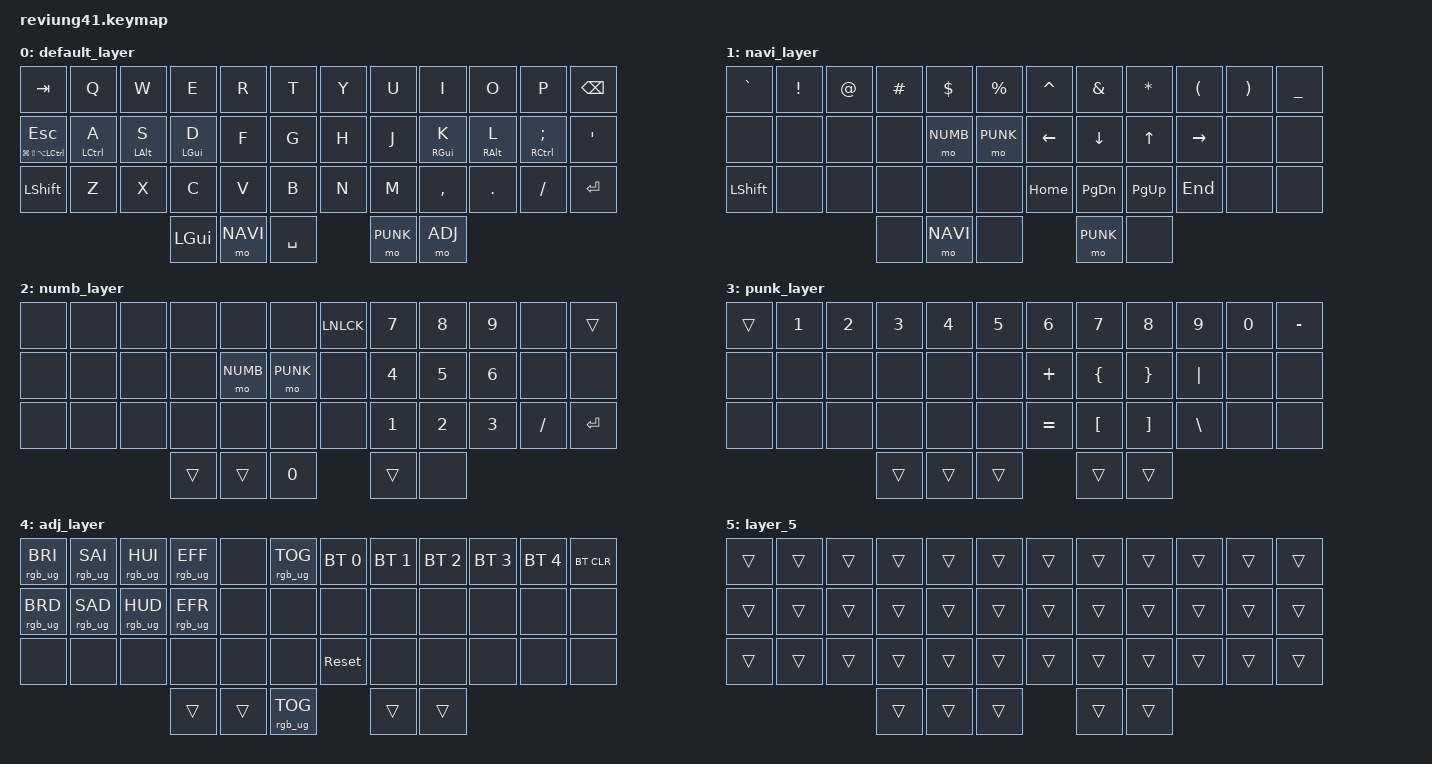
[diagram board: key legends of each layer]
/*
 * Copyright (c) 2020 The ZMK Contributors
 *
 * SPDX-License-Identifier: MIT
 */

#include <behaviors.dtsi>
#include <dt-bindings/zmk/bt.h>
#include <dt-bindings/zmk/keys.h>
#include <dt-bindings/zmk/rgb.h>

#define DEFAULT 0
#define NAVI    1
#define NUMB    2
#define PUNK    3
#define ADJ     4

&mt { tapping-term-ms = <1500>; };

/ {
    behaviors {
        hrml: hrml {
            compatible = "zmk,behavior-hold-tap";
            label = "HRML";
            bindings = <&kp>, <&kp>;

            #binding-cells = <2>;
            tapping-term-ms = <2000>;
            hold-trigger-key-positions = <13 14 15 12>;
            quick-tap-ms = <145>;
            flavor = "balanced";
            hold-trigger-on-release;
        };

        hrmr: hrmr {
            compatible = "zmk,behavior-hold-tap";
            label = "HRMR";
            bindings = <&kp>, <&kp>;

            #binding-cells = <2>;
            tapping-term-ms = <2000>;
            quick-tap-ms = <145>;
            hold-trigger-key-positions = <20 21 22>;
            flavor = "balanced";
            hold-trigger-on-release;
        };
    };

    keymap {
        compatible = "zmk,keymap";

        default_layer {
            // -------------------------------------------------------------------------------------
            // |  TAB |  Q  |  W  |  E  |  R  |  T  |                     |  Y  |  U   |  I  |  O  |  P  |   BKSP    |
            // | hyper/ESC |  ctrl A  |  alt S  |  gui D  |  F  |  G  |   |  H  |  J   |  gui K  |  alt L  |  ctrl ;  |  '  |
            // | SHFT |  Z  |  X  |  C  |  V  |  B  |                     |  N  |  M   |  ,  |  .  |  /  | SHFT(RET) |
            //                         | gui | navi     | SPC         | layer2  | layer4 |

            bindings = <
&kp TAB                    &kp Q               &kp W       &kp E       &kp R     &kp T             &kp Y  &kp U     &kp I       &kp O       &kp P           &kp BSPC
&mt LG(LS(LA(LCTRL))) ESC  &mt LEFT_CONTROL A  &mt LALT S  &mt LGUI D  &kp F     &kp G             &kp H  &kp J     &mt RGUI K  &mt RALT L  &mt RCTRL SEMI  &kp SQT
&kp LSHFT                  &kp Z               &kp X       &kp C       &kp V     &kp B             &kp N  &kp M     &kp COMMA   &kp DOT     &kp FSLH        &kp RETURN
                                                           &kp LGUI    &mo NAVI         &kp SPACE         &mo PUNK  &mo ADJ
            >;
        };

        navi_layer {
            // ----------------------------------------------------------------------------------
            // |  ` |  !  |  @  |  #  |  $  |  %  |          |  ^  |  &  |  *  |  (  |  )  |    -      |
            // |    |     |     |     |NUMB | PUNK|          | LFT | DWN |  UP | RGT |     |           |
            // | SHFT |   |     |     |     |     |          | HOME| PGDN | PGUP| END| PRSC| SHFT(RET) |
            //                        |     |     |          |     |     |

            bindings = <
&kp GRAVE  &kp EXCL  &kp AT  &kp HASH  &kp DLLR  &kp PRCNT         &kp CARET  &kp AMPS   &kp ASTRK  &kp LPAR   &kp RPAR  &kp UNDERSCORE
&none      &none     &none   &none     &mo NUMB  &mo PUNK          &kp LEFT   &kp DOWN   &kp UP     &kp RIGHT  &none     &none
&kp LSHFT  &none     &none   &none     &none     &none             &kp HOME   &kp PG_DN  &kp PG_UP  &kp END    &none     &none
                             &none     &mo NAVI             &none             &mo PUNK   &none
            >;
        };

        numb_layer {
            // ------------------------------------------------------------------------------------------------------------
            // |     |      |      |       |       |      |      | NLCK |   7  |   8   |   9  |       |  BSPC |
            // |     |      |      |       |  NUMB | PUNK |      |      |   4  |   5   |   6  |       |       |
            // |     |      |      |       |       |      |      |      |   1  |   2   |   3  |   /   | ENTER |
            //              |      |       |       |      |      |   0  |      |       |      |

            bindings = <
&none  &none  &none  &none   &none     &none             &kp LNLCK  &kp N7  &kp N8  &kp N9  &none     &trans
&none  &none  &none  &none   &mo NUMB  &mo PUNK          &none      &kp N4  &kp N5  &kp N6  &none     &none
&none  &none  &none  &none   &none     &none             &none      &kp N1  &kp N2  &kp N3  &kp FSLH  &kp RET
                     &trans  &trans              &kp N0             &trans  &none
            >;
        };

        punk_layer {
            // -----------------------------------------------------------------------------------------
            // |    |  1  |  2  |  3  |  4  |  5  |   |  6  |  7  |  8  |  9  |  0  | BSPC |
            // |    |     |     |     |     |     |   |  +  |  {  |   } | "|" |     |      |
            // |    |     |     |     |     |     |   |  =  |  [  |   ] |  \  |     |      |
            //                       |     |     |     |    |     |

            bindings = <
&trans  &kp N1  &kp N2  &kp N3  &kp N4  &kp N5          &kp N6     &kp N7    &kp N8    &kp N9    &kp N0  &kp MINUS
&none   &none   &none   &none   &none   &none           &kp PLUS   &kp LBRC  &kp RBRC  &kp PIPE  &none   &none
&none   &none   &none   &none   &none   &none           &kp EQUAL  &kp LBKT  &kp RBKT  &kp BSLH  &none   &none
                        &trans  &trans          &trans             &trans    &trans
            >;
        };

        adj_layer {
            // -----------------------------------------------------------------------------------------
            // | RGB BRI+ | RGB SAT+ | RGB HUE+ | RGB ANI+ |    |         |   |  BT1  | BT2 | BT3 | BT4 | BT5 | BT CLR |
            // | RGB BRI- | RGB SAT- | RGB HUE- | RGB ANI- |    |         |   |       |     |     |     |     |        |
            // |          |          |          |          |    |         |   | RESET |     |     |     |     |        |
            //                                      |     |     | RGB TOG |     |     |

            bindings = <
&rgb_ug RGB_BRI  &rgb_ug RGB_SAI  &rgb_ug RGB_HUI  &rgb_ug RGB_EFF  &none   &rgb_ug RGB_TOG                   &bt BT_SEL 0  &bt BT_SEL 1  &bt BT_SEL 2  &bt BT_SEL 3  &bt BT_SEL 4  &bt BT_CLR
&rgb_ug RGB_BRD  &rgb_ug RGB_SAD  &rgb_ug RGB_HUD  &rgb_ug RGB_EFR  &none   &none                             &none         &none         &none         &none         &none         &none
&none            &none            &none            &none            &none   &none                             &sys_reset    &none         &none         &none         &none         &none
                                                   &trans           &trans                   &rgb_ug RGB_TOG                &trans        &trans
            >;
        };

        layer_5 {
            bindings = <
&trans  &trans  &trans  &trans  &trans  &trans          &trans  &trans  &trans  &trans  &trans  &trans
&trans  &trans  &trans  &trans  &trans  &trans          &trans  &trans  &trans  &trans  &trans  &trans
&trans  &trans  &trans  &trans  &trans  &trans          &trans  &trans  &trans  &trans  &trans  &trans
                        &trans  &trans          &trans          &trans  &trans
            >;
        };
    };
};
